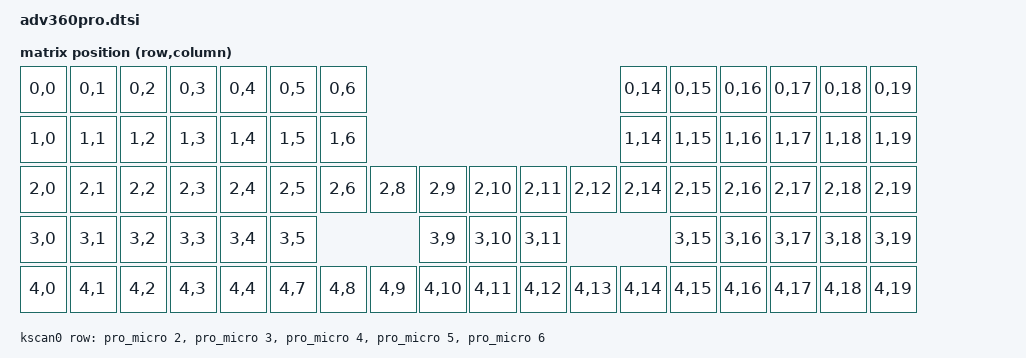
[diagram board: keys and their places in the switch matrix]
#include <dt-bindings/zmk/matrix_transform.h> // Put this with the other includes at the top of your dtsi
/ {
    chosen {
        zmk,kscan = &kscan0;
        zmk,matrix-transform = &default_transform;
        // Other chosen items
    };
    
    kscan0: kscan0 {
        compatible = "zmk,kscan-gpio-matrix";
        diode-direction = "col2row";
        wakeup-source;
        row-gpios
            = <&pro_micro 2 (GPIO_ACTIVE_HIGH | GPIO_PULL_DOWN)>
            , <&pro_micro 3 (GPIO_ACTIVE_HIGH | GPIO_PULL_DOWN)>
            , <&pro_micro 4 (GPIO_ACTIVE_HIGH | GPIO_PULL_DOWN)>
            , <&pro_micro 5 (GPIO_ACTIVE_HIGH | GPIO_PULL_DOWN)>
            , <&pro_micro 6 (GPIO_ACTIVE_HIGH | GPIO_PULL_DOWN)>
            ;
    };

    default_transform: keymap_transform0 {
        compatible = "zmk,matrix-transform";
        columns = <20>;
        rows = <5>;
        map = <
        RC(0,0) RC(0,1) RC(0,2) RC(0,3) RC(0,4) RC(0,5) RC(0,6)                                                             RC(0,14) RC(0,15) RC(0,16) RC(0,17) RC(0,18) RC(0,19)
        RC(1,0) RC(1,1) RC(1,2) RC(1,3) RC(1,4) RC(1,5) RC(1,6)                                                             RC(1,14) RC(1,15) RC(1,16) RC(1,17) RC(1,18) RC(1,19)
        RC(2,0) RC(2,1) RC(2,2) RC(2,3) RC(2,4) RC(2,5) RC(2,6)         RC(2,8) RC(2,9) RC(2,10) RC(2,11) RC(2,12)          RC(2,14) RC(2,15) RC(2,16) RC(2,17) RC(2,18) RC(2,19)
        RC(3,0) RC(3,1) RC(3,2) RC(3,3) RC(3,4) RC(3,5)                         RC(3,9) RC(3,10) RC(3,11)                            RC(3,15) RC(3,16) RC(3,17) RC(3,18) RC(3,19)
        RC(4,0) RC(4,1) RC(4,2) RC(4,3) RC(4,4)                 RC(4,7) RC(4,8) RC(4,9) RC(4,10) RC(4,11) RC(4,12) RC(4,13) RC(4,14) RC(4,15) RC(4,16) RC(4,17) RC(4,18) RC(4,19)

      >;
    };
};
